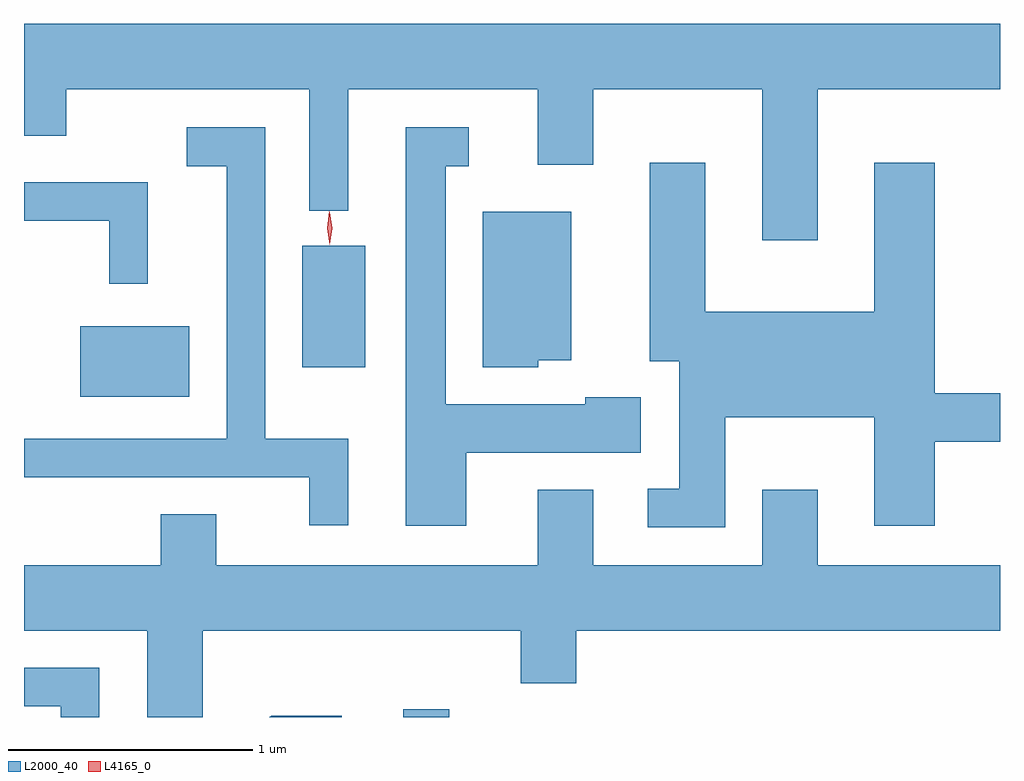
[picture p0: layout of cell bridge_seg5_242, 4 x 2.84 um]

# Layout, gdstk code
import gdstk
lib = gdstk.Library(unit=1e-6, precision=1e-09)
def R(c, l, rs):  # rectangles x0, y0, x1, y1
    for r in rs: c.add(gdstk.rectangle(r[:2], r[2:], *l))
def P(c, l, *ps):  # polygons
    for p in ps: c.add(gdstk.Polygon(p, *l))
L2000_40 = (2000, 40)
L4165_0 = (4165, 0)

bridge_seg5_242 = lib.new_cell('bridge_seg5_242')
R(bridge_seg5_242, L2000_40, [(950.481,1467.542,950.669,1467.574), (949.156,1468.856,949.604,1469.144), (950.066,1468.976,950.324,1469.474)])
P(bridge_seg5_242, L2000_40, [(952.179,1470.116),(952.926,1470.116),(952.926,1470.384),(948.926,1470.384),(948.926,1469.926),(949.099,1469.926),(949.099,1470.116),(950.096,1470.116),(950.096,1469.618),(950.254,1469.618),(950.254,1470.116),(951.031,1470.116),(951.031,1469.806),(951.259,1469.806),(951.259,1470.116),(951.951,1470.116),(951.951,1469.496),(952.179,1469.496)],
  [(950.254,1468.684),(949.914,1468.684),(949.914,1469.959),(949.593,1469.959),(949.593,1469.801),(949.756,1469.801),(949.756,1468.684),(948.926,1468.684),(948.926,1468.526),(950.096,1468.526),(950.096,1468.328),(950.254,1468.328)],
  [(950.739,1468.626),(951.454,1468.626),(951.454,1468.854),(951.226,1468.854),(951.226,1468.824),(950.654,1468.824),(950.654,1469.801),(950.748,1469.801),(950.748,1469.959),(950.491,1469.959),(950.491,1468.326),(950.739,1468.326)],
  [(951.799,1468.771),(952.411,1468.771),(952.411,1468.326),(952.659,1468.326),(952.659,1468.671),(952.926,1468.671),(952.926,1468.869),(952.659,1468.869),(952.659,1469.814),(952.411,1469.814),(952.411,1469.204),(951.719,1469.204),(951.719,1469.814),(951.491,1469.814),(951.491,1469.001),(951.611,1469.001),(951.611,1468.479),(951.483,1468.479),(951.483,1468.321),(951.799,1468.321)],
  [(949.434,1469.734),(948.926,1469.734),(948.926,1469.576),(949.276,1469.576),(949.276,1469.318),(949.434,1469.318)],
  [(951.034,1469.006),(951.169,1469.006),(951.169,1469.614),(950.806,1469.614),(950.806,1468.976),(951.034,1468.976)],
  [(948.926,1467.896),(949.431,1467.896),(949.431,1467.542),(949.659,1467.542),(949.659,1467.896),(950.961,1467.896),(950.961,1467.681),(951.189,1467.681),(951.189,1467.896),(952.926,1467.896),(952.926,1468.164),(952.179,1468.164),(952.179,1468.474),(951.951,1468.474),(951.951,1468.164),(951.259,1468.164),(951.259,1468.474),(951.031,1468.474),(951.031,1468.164),(949.714,1468.164),(949.714,1468.374),(949.486,1468.374),(949.486,1468.164),(948.926,1468.164)],
  [(949.234,1467.744),(948.926,1467.744),(948.926,1467.586),(949.076,1467.586),(949.076,1467.542),(949.234,1467.542)],
  [(950.228,1467.549),(949.939,1467.549),(949.932,1467.542),(950.228,1467.542)])
P(bridge_seg5_242, L4165_0, [(950.179,1469.478),(950.168,1469.546),(950.176,1469.615),(950.177,1469.616),(950.177,1469.615),(950.188,1469.547),(950.18,1469.478),(950.18,1469.478)],
  [(950.18,1469.48),(950.179,1469.481),(950.169,1469.546),(950.179,1469.612),(950.18,1469.612),(950.18,1469.612),(950.19,1469.546),(950.18,1469.481)])

lib.write_gds('bridge_seg5_242.gds')
